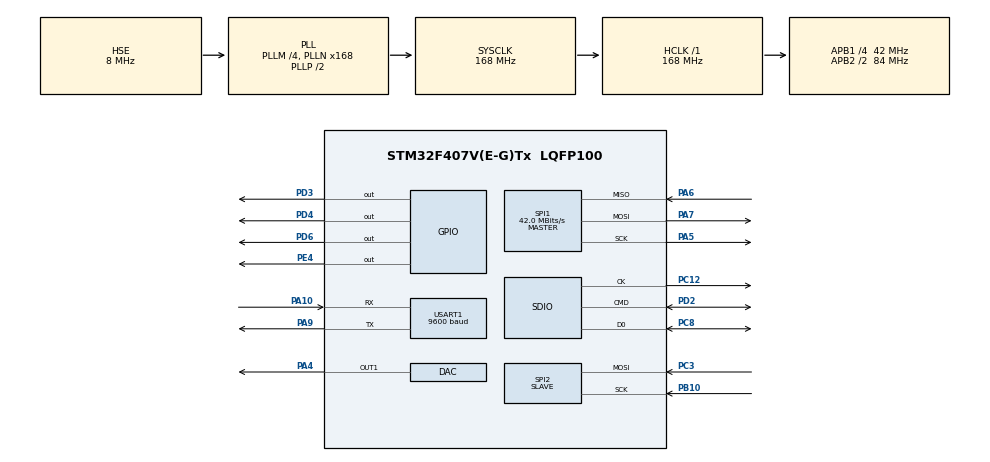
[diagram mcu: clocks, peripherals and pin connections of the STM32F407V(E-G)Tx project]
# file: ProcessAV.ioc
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DAC.DAC_Trigger=DAC_TRIGGER_T2_TRGO
Dma.DAC1.2.Direction=DMA_MEMORY_TO_PERIPH
Dma.DAC1.2.FIFOMode=DMA_FIFOMODE_DISABLE
Dma.DAC1.2.Instance=DMA1_Stream5
Dma.DAC1.2.MemDataAlignment=DMA_MDATAALIGN_WORD
Dma.DAC1.2.MemInc=DMA_MINC_ENABLE
Dma.DAC1.2.Mode=DMA_CIRCULAR
Dma.DAC1.2.PeriphDataAlignment=DMA_PDATAALIGN_WORD
Dma.DAC1.2.PeriphInc=DMA_PINC_DISABLE
Dma.DAC1.2.Priority=DMA_PRIORITY_MEDIUM
Dma.Request0=SPI1_TX
Dma.Request1=SPI1_RX
Dma.Request2=DAC1
Dma.SPI1_RX.1.Direction=DMA_PERIPH_TO_MEMORY
Dma.SPI1_RX.1.FIFOMode=DMA_FIFOMODE_DISABLE
Dma.SPI1_RX.1.Instance=DMA2_Stream0
Dma.SPI1_RX.1.MemDataAlignment=DMA_MDATAALIGN_BYTE
Dma.SPI1_RX.1.MemInc=DMA_MINC_ENABLE
Dma.SPI1_RX.1.Mode=DMA_NORMAL
Dma.SPI1_RX.1.PeriphDataAlignment=DMA_PDATAALIGN_BYTE
Dma.SPI1_RX.1.PeriphInc=DMA_PINC_DISABLE
Dma.SPI1_RX.1.Priority=DMA_PRIORITY_LOW
Dma.SPI1_TX.0.Direction=DMA_MEMORY_TO_PERIPH
Dma.SPI1_TX.0.FIFOMode=DMA_FIFOMODE_DISABLE
Dma.SPI1_TX.0.Instance=DMA2_Stream3
Dma.SPI1_TX.0.MemDataAlignment=DMA_MDATAALIGN_BYTE
Dma.SPI1_TX.0.MemInc=DMA_MINC_ENABLE
Dma.SPI1_TX.0.Mode=DMA_NORMAL
Dma.SPI1_TX.0.PeriphDataAlignment=DMA_PDATAALIGN_BYTE
Dma.SPI1_TX.0.PeriphInc=DMA_PINC_DISABLE
Dma.SPI1_TX.0.Priority=DMA_PRIORITY_LOW
FATFS._MAX_SS=512
Mcu.Family=STM32F4
Mcu.Name=STM32F407V(E-G)Tx
Mcu.Package=LQFP100
NVIC.DMA1_Stream5_IRQn=true\:0\:0\:false\:false\:true\:false\:true\:true
NVIC.DMA2_Stream0_IRQn=true\:0\:0\:false\:false\:true\:false\:true\:true
NVIC.DMA2_Stream3_IRQn=true\:0\:0\:false\:false\:true\:false\:true\:true
NVIC.PriorityGroup=NVIC_PRIORITYGROUP_4
NVIC.SPI2_IRQn=true\:0\:0\:false\:false\:true\:true\:true\:true
NVIC.TIM4_IRQn=true\:0\:0\:false\:false\:true\:true\:true\:true
NVIC.USART1_IRQn=true\:0\:0\:false\:false\:true\:true\:true\:true
PA10.Mode=Asynchronous
PA10.Signal=USART1_RX
PA13.Mode=Serial_Wire
PA13.Signal=SYS_JTMS-SWDIO
PA14.Mode=Serial_Wire
PA14.Signal=SYS_JTCK-SWCLK
PA4.Signal=COMP_DAC1_group
PA5.Mode=Full_Duplex_Master
PA5.Signal=SPI1_SCK
PA6.Mode=Full_Duplex_Master
PA6.Signal=SPI1_MISO
PA7.Mode=Full_Duplex_Master
PA7.Signal=SPI1_MOSI
PA9.Mode=Asynchronous
PA9.Signal=USART1_TX
PB10.Mode=RX_Only_Simplex_Unidirect_Slave
PB10.Signal=SPI2_SCK
PC12.Mode=SD_1_bit
PC12.Signal=SDIO_CK
PC3.Mode=RX_Only_Simplex_Unidirect_Slave
PC3.Signal=SPI2_MOSI
PC8.GPIO_PuPd=GPIO_PULLUP
PC8.Mode=SD_1_bit
PC8.Signal=SDIO_D0
PD2.GPIO_PuPd=GPIO_PULLUP
PD2.Mode=SD_1_bit
PD2.Signal=SDIO_CMD
PD3.Signal=GPIO_Output
PD4.Signal=GPIO_Output
PD6.Signal=GPIO_Output
PE4.Signal=GPIO_Output
PH0-OSC_IN.Mode=HSE-External-Oscillator
PH0-OSC_IN.Signal=RCC_OSC_IN
PH1-OSC_OUT.Mode=HSE-External-Oscillator
PH1-OSC_OUT.Signal=RCC_OSC_OUT
ProjectManager.HeapSize=0x200
ProjectManager.StackSize=0x400
ProjectManager.TargetToolchain=STM32CubeIDE
RCC.48MHZClocksFreq_Value=48000000
RCC.AHBFreq_Value=168000000
RCC.APB1CLKDivider=RCC_HCLK_DIV4
RCC.APB1Freq_Value=42000000
RCC.APB1TimFreq_Value=84000000
RCC.APB2CLKDivider=RCC_HCLK_DIV2
RCC.APB2Freq_Value=84000000
RCC.APB2TimFreq_Value=168000000
RCC.CortexFreq_Value=168000000
RCC.HCLKFreq_Value=168000000
RCC.HSE_VALUE=8000000
RCC.HSI_VALUE=16000000
RCC.LSE_VALUE=32768
RCC.PLLM=4
RCC.PLLN=168
RCC.PLLQ=7
RCC.PLLSourceVirtual=RCC_PLLSOURCE_HSE
RCC.SYSCLKFreq_VALUE=168000000
RCC.SYSCLKSource=RCC_SYSCLKSOURCE_PLLCLK
RCC.VCOOutputFreq_Value=336000000
SDIO.ClockDiv=8
SH.COMP_DAC1_group.0=DAC_OUT1,DAC_OUT1
SPI1.BaudRatePrescaler=SPI_BAUDRATEPRESCALER_2
SPI1.CalculateBaudRate=42.0 MBits/s
SPI1.DataSize=SPI_DATASIZE_8BIT
SPI1.Direction=SPI_DIRECTION_2LINES
SPI1.Mode=SPI_MODE_MASTER
SPI1.VirtualType=VM_MASTER
SPI2.CRCCalculation=SPI_CRCCALCULATION_DISABLE
SPI2.Direction=SPI_DIRECTION_2LINES_RXONLY
SPI2.Mode=SPI_MODE_SLAVE
SPI2.VirtualType=VM_SLAVE
TIM2.Period=27
TIM2.Prescaler=41
TIM2.TIM_MasterOutputTrigger=TIM_TRGO_UPDATE
TIM4.Period=1000
TIM4.Prescaler=84
USART1.BaudRate=9600
USART1.Parity=PARITY_NONE
USART1.VirtualMode=VM_ASYNC
VP_FATFS_VS_SDIO.Mode=SDIO
VP_TIM2_VS_ClockSourceINT.Mode=Internal
VP_TIM4_VS_ClockSourceINT.Mode=Internal
board=custom

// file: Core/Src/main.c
/* USER CODE BEGIN Header */
/**
  ******************************************************************************
  * @file           : main.c
  * @brief          : Main program body
  ******************************************************************************
  * @attention
  *
  * Copyright (c) 2024 STMicroelectronics.
  * All rights reserved.
  *
  * This software is licensed under terms that can be found in the LICENSE file
  * in the root directory of this software component.
  * If no LICENSE file comes with this software, it is provided AS-IS.
  *
  ******************************************************************************
  */
/* USER CODE END Header */
#include "main.h"
#include "fatfs.h"

/* USER CODE BEGIN Includes */

#include "graphics.h"
#include "lcd.h"
#include "sdsys.h"
#include "audio.h"
#include "kernel.h"
#include "controller.h"
#include "app.h"
#include <stdbool.h>

/* USER CODE END Includes */

DAC_HandleTypeDef hdac;
DMA_HandleTypeDef hdma_dac1;

SD_HandleTypeDef hsd;

SPI_HandleTypeDef hspi1;
SPI_HandleTypeDef hspi2;
DMA_HandleTypeDef hdma_spi1_tx;
DMA_HandleTypeDef hdma_spi1_rx;

TIM_HandleTypeDef htim2;
TIM_HandleTypeDef htim4;

UART_HandleTypeDef huart1;

/* USER CODE BEGIN PV */

volatile uint8_t flagDmaSpiTx = 0; /*flaguri pentru transfer DMA prin SPI*/
volatile uint8_t flagDmaSpiRx = 0;

volatile uint8_t flagDmaSDIORx = 0; /*flag pentru transfer DMA SDIO*/

volatile bool flagDmaDAC = 0;      /*Flag pentru DMA pe DAC si bufferele aferente*/

/* USER CODE END PV */

void SystemClock_Config(void);
static void MX_GPIO_Init(void);
static void MX_DMA_Init(void);
static void MX_SPI1_Init(void);
static void MX_USART1_UART_Init(void);
static void MX_DAC_Init(void);
static void MX_TIM2_Init(void);
static void MX_SDIO_SD_Init(void);
static void MX_SPI2_Init(void);
static void MX_TIM4_Init(void);

/* USER CODE BEGIN 0 */

void HAL_SPI_TxCpltCallback(SPI_HandleTypeDef *hspi)
{
	/*
	 * Functie de CallBack pentru terminarea transferului SPI
	 * folosind DMA. Odata terminat transferul SPI prin DMA,
	 * aceasta functia de CallBack se va apela, setandu-ne un flag
	 * pentru a indica starea acestui transfer de date.
	 */

	if(hspi->Instance == SPI1)
	{
		flagDmaSpiTx = 1;
	}

}

void HAL_SPI_RxCpltCallback(SPI_HandleTypeDef *hspi)
{

	/*
	 * Functie de CallBack pentru terminarea receptiei datelor
	 * prin SPI folosind DMA (analog cu functia HAL_SPI_TxCpltCallback)
	 */

	if(hspi->Instance == SPI1)
	{
		/*
		 * SPI1 folosit pentru LCD
		 */

		flagDmaSpiRx = 1;

	}

	if(hspi->Instance == SPI2)
	{
		/*
		 * Receptionare comenzi controller
		 */

		switch(dataController)
		{
		  	case DxRight:
		  	  currentDx = DxRight;
		  	  break;
		  	case DxLeft:
		  	  currentDx = DxLeft;
		  	  break;
		  	case DxUp:
		  	  currentDx = DxUp;
		  	  break;
		  	case DxDown:
		  	  currentDx = DxDown;
		  	  break;
		  	case DxStart:
		  	  currentDx = DxStart;
		  	  break;
		  	case DxSelect:
		  	  currentDx = DxSelect;
		  	  break;
		  	default:
		  	  currentDx = 0x00;
		  	  break;
		}

		/*Reinitializare intrerupere rcpt SPI2 intr Controller*/

		HAL_SPI_Receive_IT(&hspi2, &dataController, sizeof(dataController));

	}

}

void HAL_DAC_ConvHalfCpltCallbackCh1(DAC_HandleTypeDef *hdac)
{
    /*
     * Functie de CallBack pentru finalizare 1/2 din transfer DMA pe DAC
     */

	flagDmaDAC = 1;

}

void controller_test()
{
	ENTITY entity;
	entity.x0 = 0;
	entity.y0 = 300;
	entity.x1 = 64;
	entity.y1 = 64;
	entity.id = 0x80;
	entity.ST.color = 0xF100;

	draw_entity(&entity);

	while(1)
	{

		switch(currentDx)
		{
			case DxRight:
				translation_entity(&entity, entity.x0+32, entity.y0, 1);
				currentDx = 0;
				break;
			case DxLeft:
				translation_entity(&entity, entity.x0-32, entity.y0, 1);
				currentDx = 0;
				break;
			case DxUp:
				translation_entity(&entity, entity.x0, entity.y0-32, 1);
				currentDx = 0;
				break;
			case DxDown:
				translation_entity(&entity, entity.x0, entity.y0+32, 1);
				currentDx = 0;
				break;
			default:
				currentDx = 0;
				break;
		}

		kernel_delay(50);

	}

}

void Task0()
{

	ENTITY entity;
	entity.x0 = 0;
	entity.y0 = 0;
	entity.x1 = 64;
	entity.y1 = 64;
	entity.id = 0x80;
	entity.ST.color = 0xF100;

    while(1)
    {
        //HAL_GPIO_TogglePin(GPIOE, GPIO_PIN_4);
        //mutex = 1;
        //HAL_GPIO_WritePin(GPIOE, GPIO_PIN_4, GPIO_PIN_SET);
        //HAL_GPIO_WritePin(GPIOE, GPIO_PIN_4, GPIO_PIN_RESET);
        translation_test(&entity, 1, 0);
    	//mutex = 0;
    }
}

void Task1()
{

    while(1)
    {
    	play_audio_file("Audio/acoustic.txt");
    	kernel_delay(20);
    }
}

/*

volatile void Task1()
{
	ENTITY entity;
	entity.x0 = 0;
	entity.y0 = 0;
	entity.x1 = 64;
	entity.y1 = 64;
	entity.id = 0x80;
	entity.ST.color = 0xF100;

    while(1)
    {

    	//HAL_GPIO_TogglePin(GPIOE, GPIO_PIN_4);
    	//flagg = 1;
    	//mutex = 1;
        HAL_GPIO_WritePin(GPIOE, GPIO_PIN_4, GPIO_PIN_RESET);
        translation_entity(&entity, entity.x0+1, entity.y0, 1);
    	//mutex = 0;
    	HAL_Delay(40);
    }
}
*/

void Task2()
{
	ENTITY entity;
	entity.x0 = 0;
	entity.y0 = 300;
	entity.x1 = 64;
	entity.y1 = 64;
	entity.id = 0x80;
	entity.ST.color = 0xF100;

    while(1)
    {

    	//HAL_GPIO_TogglePin(GPIOE, GPIO_PIN_4);
    	//flagg = 1;
    	//mutex = 1;
        //HAL_GPIO_WritePin(GPIOE, GPIO_PIN_4, GPIO_PIN_SET);
        translation_test(&entity, 1, 0);
        //translation_entity(&entity, entity.x0+1, entity.y0, 1);
    	//mutex = 0;

    }
}

void Task3()
{
	while(1)
	{
		controller_test();
	}
}

void Task4()
{
	while(1)
	{
		HAL_GPIO_TogglePin(GPIOE, GPIO_PIN_4);
		kernel_delay(2000);
	}
}

void Task5()
{
	while(1)
	{
		HAL_GPIO_TogglePin(GPIOE, GPIO_PIN_4);
		kernel_delay(2000);
	}
}

void demo_os_1()
{
	  BackGroundColor = 0xFFFF;
	  fill_screen2(0xFFFF);
	  print_string(128, 128, "os demo",0xF100, BackGroundColor);

	  kernel_add_process(Task0);
	  kernel_add_process(Task1);
	  //kernel_add_process(Task2);
	  //kernel_add_process(Task3);
	  //kernel_add_process(Task4);
	  //kernel_add_process(Task5);
	  kernel_start();

	  while(1)
	  {

	  }
}

/* USER CODE END 0 */

int main(void)
{

  /* MCU Configuration--------------------------------------------------------*/

  /* Reset of all peripherals, Initializes the Flash interface and the Systick. */
  HAL_Init();

  /* USER CODE BEGIN Init */
  HAL_NVIC_SetPriority(PendSV_IRQn, 15, 0);
  HAL_NVIC_SetPriority(TIM4_IRQn, 14, 0);
  /* USER CODE END Init */

  /* Configure the system clock */
  SystemClock_Config();

  /* Initialize all configured peripherals */
  MX_GPIO_Init();
  MX_DMA_Init();
  MX_SPI1_Init();
  MX_USART1_UART_Init();
  MX_DAC_Init();
  MX_TIM2_Init();
  MX_SDIO_SD_Init();
  MX_FATFS_Init();
  MX_SPI2_Init();
  MX_TIM4_Init();
  /* USER CODE BEGIN 2 */

  init_cardSD();  /*Initializare sistem de fisiere card SD*/
  ILI9488_driver_init();  /*Initializare driver ecran LCD*/
  HAL_TIM_Base_Start(&htim2); /*Initializare timer2 pentru trigger DMA pe DAC*/
  HAL_TIM_Base_Start_IT(&htim4);
  HAL_SPI_Receive_IT(&hspi2, &dataController, sizeof(dataController)); /*Initializare SPI2 intr Controller*/

  main_app(); /*FSM principal al sistemului*/

  fill_screen1(0xFFFF);
  //play_audio_file("Audio/acoustic.txt");
  //controller_test();
  //demo_os_1();

  /*Test pentru tastatura*/

  //fill_screen1(0x0000);

  //HAL_Delay(1000);
  //play_audio_file("Audio/acoustic.txt");
  //HAL_Delay(1000);
  //play_audio_file_reverb("Audio/acoustic.txt");
  //HAL_Delay(1000);
  //play_audio_file_vibrato("Audio/acoustic.txt");
  //HAL_Delay(1000);
  //play_audio_file_echo("Audio/acoustic.txt", 22, 0.99);
  //HAL_Delay(1000);
  //play_audio_file_echo("Audio/acoustic.txt", 22, 0);
  //HAL_Delay(1000);
  //play_audio_file("Audio/king.txt"); //doremi mine songita song22 king acoustic bambina

  //fill_screen1(0xF100);
  //HAL_Delay(1000);
  //fill_screen2(0xF00F);
  //HAL_Delay(1000);
  fill_screen2(0xFFFF);
  //HAL_Delay(1000);

  unsigned int startTick = 0;
  unsigned int endTick = 0;
  unsigned int getTime = 0;

  ENTITY entity;
  init_entity_sd(&entity);

  /*Test SCALARE*/

  fill_screen2(0xFFFF);

  BackGroundColor = 0xFFFF;

  entity.x0 = 100;
  entity.y0 = 100;
  entity.id = 0;
  assign_file_path_entity(&entity, "graphic/multi2.bin");
  draw_entity(&entity);
  HAL_Delay(1000);
  scaling_entity(&entity, 38);
  erase_entity(entity);
  draw_entity(&entity);
  HAL_Delay(1000);

  //--------------------------------------------

  HAL_Delay(1000);
  fill_screen2(0xFFFF);
  rotate_entity(&entity, 90);
  HAL_Delay(5000);
  rotate_entity(&entity, 180);
  HAL_Delay(5000);
  rotate_entity(&entity, 270);
  HAL_Delay(5000);

  //---------------------------------------------

  HAL_Delay(1000);

  //fill_screen2(0xFFFF);
  draw_rectangle(entity.x0, entity.y0, entity.x1, entity.y1, BackGroundColor);
  draw_entity(&entity);
  HAL_Delay(1000);
  //fill_screen2(0xFFFF);
  scaling_entity(&entity, 0.5);
  HAL_Delay(1000);
  draw_rectangle(entity.x0, entity.y0, entity.x1, entity.y1, BackGroundColor);
  draw_entity(&entity);
  HAL_Delay(1000);

  fill_screen2(0xFFFF);
  entity.x0 = 0;
  entity.y0 = 0;
  assign_file_path_entity(&entity, "graphic/img9.bin");
  draw_entity(&entity);
  HAL_Delay(1000);
  fill_screen2(0xFFFF);
  scaling_entity(&entity, 0.5);
  draw_entity(&entity);
  HAL_Delay(1000);
  scaling_entity(&entity, 2);
  draw_entity(&entity);
  HAL_Delay(1000);
  //Test read from LCD

  //draw_pixel(0,0,0x001F);
  //draw_pixel(1,0,0xF800);
  //draw_pixel(0,1,0x001F);
  //draw_pixel(1,1,0xFF00);

  //uint8_t *dataRec1;
  //dataRec1 = malloc(sizeof(char)*20);
  //read_pixel_frame(0,0,2,2,dataRec1);

  //free(dataRec1);

  //Test image print from SD card
  ENTITY ent;
  ent.x0 = 0;
  ent.y0 = 0;
  ent.id = 0x00;
  init_entity_sd(&ent);
  assign_file_path_entity(&ent, "graphic/img5.bin");
  draw_entity(&ent);
  HAL_Delay(2000);
  assign_file_path_entity(&ent, "graphic/img6.bin");
  draw_entity(&ent);
  HAL_Delay(2000);
  assign_file_path_entity(&ent, "graphic/img8.bin");
  draw_entity(&ent);
  HAL_Delay(2000);
  assign_file_path_entity(&ent, "graphic/img9.bin");
  draw_entity(&ent);
  HAL_Delay(2000);
  startTick = HAL_GetTick();
  assign_file_path_entity(&ent, "graphic/img92.bin");
  draw_entity(&ent);
  endTick = HAL_GetTick();
  getTime = endTick - startTick;

  fill_screen2(0x0000);
  assign_file_path_entity(&ent, "graphic/pixel1.bin");
  draw_entity(&ent);
  HAL_Delay(3000);
  //draw_entity(&ent, "graphic/img51.txt");
  //HAL_Delay(2000);
  //draw_entity(&ent, "graphic/img6.txt");
  //HAL_Delay(2000);
  //draw_entity(&ent, "graphic/img8.txt");
  //HAL_Delay(2000);
  //draw_entity(&ent, "graphic/img4.txt");
  //HAL_Delay(1000);

  //read_image_file("graphic/img4.txt", &ent);
  //set_adress_window(ent.x0, ent.y0, ent.x1+ent.x0-1, ent.y1+ent.y0-1, 'w');
  //LCD_send_data_multi(ent.data,sizeof(char)*(ent.x1*ent.y1)*3);

  //HAL_Delay(4000);

  //free(ent.data);

  //Test translation

  //ENTITY entity;

  free_entity_sd(&entity);

  entity.x0 = 0;
  entity.y0 = 0;
  entity.x1 = 64;
  entity.y1 = 64;
  entity.id = 0x80;
  entity.ST.color = 0xF100;

  //draw_entity(&entity,NULL);

  translation_test(&entity, 1, 0);

  HAL_Delay(500);
  translation_entity(&entity, entity.x0+100, entity.y0+100, 0);//, 0xF100);
  HAL_Delay(2000);
  translation_entity(&entity, entity.x0+32, entity.y0+32, 0);//, 0xF100);
  HAL_Delay(500);
  translation_entity(&entity, entity.x0+12, entity.y0+32, 0);//, 0xF100);
  HAL_Delay(500);
  translation_entity(&entity, entity.x0+12, entity.y0, 0);//, 0xF100);
  HAL_Delay(500);

  //Test_SD_Card();

  //play_audio_file("audio/mine.txt"); //doremi mine songita song22

  fill_screen2(0xF100);

  //startTick = HAL_GetTick();
  //read_audio_file("audio/random.txt", sampleData);
  //endTick = HAL_GetTick();
  //getTime = endTick - startTick;

  HAL_Delay(100);

  for(uint8_t i=0;i<100;i++)
  {
	  for(uint8_t j=0; j<100;j++)
	  {

		  if(i==j)
		  {
			  draw_pixel(i,j,0xF100);
			  continue;
		  }

		  if((i == 80 && j==20) || (i == 80 && j==19) || (i == 81 && j==20) || (i == 81 && j==19))
		  {
			  draw_pixel(i,j,0x001F);
			  continue;
		  }

		  draw_pixel(i,j,0xFFFF);

	  }
  }

  //HAL_Delay(1);

  /*

  fill_screen(0x001F);

  HAL_Delay(1000);

  fill_screen(0xF100);

  HAL_Delay(1000);

  fill_screen1(0xFFFF);

  print_character(50, 50, 'a', 0x1F00, 0xFFFF);

  HAL_Delay(5000);

  fill_screen1(0x001F);

  HAL_Delay(1000);

  fill_screen2(0xFFFF);

  HAL_Delay(250);

  fill_screen2(0xF100);

  LCD_send_command(ILI9488_DISPON);

  */

  fill_screen2(0xF100);
  HAL_Delay(1000);
  fill_screen2(0xF150);
  HAL_Delay(1000);
  fill_screen2(0xF111);
  HAL_Delay(1000);
  fill_screen2(0xF10F);
  HAL_Delay(1000);
  fill_screen2(0xFFFF);
  HAL_Delay(1000);
  fill_screen2(0xFFFF);

  print_string(36, 200, "Licenta 2025", 0x1F00, 0x001F);

  uint8_t dataToSend[] = {0x01, 0x02, 0x03, 0x04};
  HAL_SPI_Transmit_DMA(&hspi1, dataToSend, sizeof(dataToSend));

  draw_horizontal_line(20, 20, 80, 0xF100);
  draw_vertical_line(20, 20, 80, 0xF100);

  flagDmaSpiTx = 0;

  draw_pixel(0,0,0x001F);
  draw_pixel(1,0,0xF800);
  draw_pixel(0,1,0x001F);
  draw_pixel(1,1,0xF800);

  HAL_Delay(50);

  uint8_t *dataRec;
  dataRec = malloc(sizeof(uint8_t));
  //dataRec = LCD_read_data(2,2,0,0);
  //free(dataRec);
  read_pixel_frame(0,0,2,2,dataRec);
  //read_pixel_format();
  //HAL_UART_Transmit(&huart1, (uint8_t*)"Pixel Data: ",12,HAL_MAX_DELAY);
  free(dataRec);

  HAL_Delay(3000);

  /* USER CODE END 2 */

  /* Infinite loop */
  while (1)
  {

  }
}

void SystemClock_Config(void)
{
  RCC_OscInitTypeDef RCC_OscInitStruct = {0};
  RCC_ClkInitTypeDef RCC_ClkInitStruct = {0};

  /** Configure the main internal regulator output voltage
  */
  __HAL_RCC_PWR_CLK_ENABLE();
  __HAL_PWR_VOLTAGESCALING_CONFIG(PWR_REGULATOR_VOLTAGE_SCALE1);

  /** Initializes the RCC Oscillators according to the specified parameters
  * in the RCC_OscInitTypeDef structure.
  */
  RCC_OscInitStruct.OscillatorType = RCC_OSCILLATORTYPE_HSE;
  RCC_OscInitStruct.HSEState = RCC_HSE_ON;
  RCC_OscInitStruct.PLL.PLLState = RCC_PLL_ON;
  RCC_OscInitStruct.PLL.PLLSource = RCC_PLLSOURCE_HSE;
  RCC_OscInitStruct.PLL.PLLM = 4;
  RCC_OscInitStruct.PLL.PLLN = 168;
  RCC_OscInitStruct.PLL.PLLP = RCC_PLLP_DIV2;
  RCC_OscInitStruct.PLL.PLLQ = 7;
  if (HAL_RCC_OscConfig(&RCC_OscInitStruct) != HAL_OK)
  {
    Error_Handler();
  }

  /** Initializes the CPU, AHB and APB buses clocks
  */
  RCC_ClkInitStruct.ClockType = RCC_CLOCKTYPE_HCLK|RCC_CLOCKTYPE_SYSCLK
                              |RCC_CLOCKTYPE_PCLK1|RCC_CLOCKTYPE_PCLK2;
  RCC_ClkInitStruct.SYSCLKSource = RCC_SYSCLKSOURCE_PLLCLK;
  RCC_ClkInitStruct.AHBCLKDivider = RCC_SYSCLK_DIV1;
  RCC_ClkInitStruct.APB1CLKDivider = RCC_HCLK_DIV4;
  RCC_ClkInitStruct.APB2CLKDivider = RCC_HCLK_DIV2;

  if (HAL_RCC_ClockConfig(&RCC_ClkInitStruct, FLASH_LATENCY_5) != HAL_OK)
  {
    Error_Handler();
  }
}

static void MX_DAC_Init(void)
{

  DAC_ChannelConfTypeDef sConfig = {0};

  /** DAC Initialization
  */
  hdac.Instance = DAC;
  if (HAL_DAC_Init(&hdac) != HAL_OK)
  {
    Error_Handler();
  }

  /** DAC channel OUT1 config
  */
  sConfig.DAC_Trigger = DAC_TRIGGER_T2_TRGO;
  sConfig.DAC_OutputBuffer = DAC_OUTPUTBUFFER_ENABLE;
  if (HAL_DAC_ConfigChannel(&hdac, &sConfig, DAC_CHANNEL_1) != HAL_OK)
  {
    Error_Handler();
  }

}

static void MX_SDIO_SD_Init(void)
{

  hsd.Instance = SDIO;
  hsd.Init.ClockEdge = SDIO_CLOCK_EDGE_RISING;
  hsd.Init.ClockBypass = SDIO_CLOCK_BYPASS_DISABLE;
  hsd.Init.ClockPowerSave = SDIO_CLOCK_POWER_SAVE_DISABLE;
  hsd.Init.BusWide = SDIO_BUS_WIDE_1B;
  hsd.Init.HardwareFlowControl = SDIO_HARDWARE_FLOW_CONTROL_DISABLE;
  hsd.Init.ClockDiv = 8;

}

static void MX_SPI1_Init(void)
{

  /* SPI1 parameter configuration*/
  hspi1.Instance = SPI1;
  hspi1.Init.Mode = SPI_MODE_MASTER;
  hspi1.Init.Direction = SPI_DIRECTION_2LINES;
  hspi1.Init.DataSize = SPI_DATASIZE_8BIT;
  hspi1.Init.CLKPolarity = SPI_POLARITY_LOW;
  hspi1.Init.CLKPhase = SPI_PHASE_1EDGE;
  hspi1.Init.NSS = SPI_NSS_SOFT;
  hspi1.Init.BaudRatePrescaler = SPI_BAUDRATEPRESCALER_2;
  hspi1.Init.FirstBit = SPI_FIRSTBIT_MSB;
  hspi1.Init.TIMode = SPI_TIMODE_DISABLE;
  hspi1.Init.CRCCalculation = SPI_CRCCALCULATION_DISABLE;
  hspi1.Init.CRCPolynomial = 10;
  if (HAL_SPI_Init(&hspi1) != HAL_OK)
  {
    Error_Handler();
  }

}

static void MX_SPI2_Init(void)
{

  /* SPI2 parameter configuration*/
  hspi2.Instance = SPI2;
  hspi2.Init.Mode = SPI_MODE_SLAVE;
  hspi2.Init.Direction = SPI_DIRECTION_2LINES_RXONLY;
  hspi2.Init.DataSize = SPI_DATASIZE_8BIT;
  hspi2.Init.CLKPolarity = SPI_POLARITY_LOW;
  hspi2.Init.CLKPhase = SPI_PHASE_1EDGE;
  hspi2.Init.NSS = SPI_NSS_SOFT;
  hspi2.Init.FirstBit = SPI_FIRSTBIT_MSB;
  hspi2.Init.TIMode = SPI_TIMODE_DISABLE;
  hspi2.Init.CRCCalculation = SPI_CRCCALCULATION_DISABLE;
  hspi2.Init.CRCPolynomial = 10;
  if (HAL_SPI_Init(&hspi2) != HAL_OK)
  {
    Error_Handler();
  }

}

static void MX_TIM2_Init(void)
{

  TIM_ClockConfigTypeDef sClockSourceConfig = {0};
  TIM_MasterConfigTypeDef sMasterConfig = {0};

  htim2.Instance = TIM2;
  htim2.Init.Prescaler = 41;
  htim2.Init.CounterMode = TIM_COUNTERMODE_UP;
  htim2.Init.Period = 27;
  htim2.Init.ClockDivision = TIM_CLOCKDIVISION_DIV1;
  htim2.Init.AutoReloadPreload = TIM_AUTORELOAD_PRELOAD_DISABLE;
  if (HAL_TIM_Base_Init(&htim2) != HAL_OK)
  {
    Error_Handler();
  }
  sClockSourceConfig.ClockSource = TIM_CLOCKSOURCE_INTERNAL;
  if (HAL_TIM_ConfigClockSource(&htim2, &sClockSourceConfig) != HAL_OK)
  {
    Error_Handler();
  }
  sMasterConfig.MasterOutputTrigger = TIM_TRGO_UPDATE;
  sMasterConfig.MasterSlaveMode = TIM_MASTERSLAVEMODE_DISABLE;
  if (HAL_TIMEx_MasterConfigSynchronization(&htim2, &sMasterConfig) != HAL_OK)
  {
    Error_Handler();
  }

}

static void MX_TIM4_Init(void)
{

  TIM_ClockConfigTypeDef sClockSourceConfig = {0};
  TIM_MasterConfigTypeDef sMasterConfig = {0};

  htim4.Instance = TIM4;
  htim4.Init.Prescaler = 84;
  htim4.Init.CounterMode = TIM_COUNTERMODE_UP;
  htim4.Init.Period = 1000;
  htim4.Init.ClockDivision = TIM_CLOCKDIVISION_DIV1;
  htim4.Init.AutoReloadPreload = TIM_AUTORELOAD_PRELOAD_DISABLE;
  if (HAL_TIM_Base_Init(&htim4) != HAL_OK)
  {
    Error_Handler();
  }
  sClockSourceConfig.ClockSource = TIM_CLOCKSOURCE_INTERNAL;
  if (HAL_TIM_ConfigClockSource(&htim4, &sClockSourceConfig) != HAL_OK)
  {
    Error_Handler();
  }
  sMasterConfig.MasterOutputTrigger = TIM_TRGO_RESET;
  sMasterConfig.MasterSlaveMode = TIM_MASTERSLAVEMODE_DISABLE;
  if (HAL_TIMEx_MasterConfigSynchronization(&htim4, &sMasterConfig) != HAL_OK)
  {
    Error_Handler();
  }

}

static void MX_USART1_UART_Init(void)
{

  huart1.Instance = USART1;
  huart1.Init.BaudRate = 9600;
  huart1.Init.WordLength = UART_WORDLENGTH_8B;
  huart1.Init.StopBits = UART_STOPBITS_1;
  huart1.Init.Parity = UART_PARITY_NONE;
  huart1.Init.Mode = UART_MODE_TX_RX;
  huart1.Init.HwFlowCtl = UART_HWCONTROL_NONE;
  huart1.Init.OverSampling = UART_OVERSAMPLING_16;
  if (HAL_UART_Init(&huart1) != HAL_OK)
  {
    Error_Handler();
  }

}

static void MX_DMA_Init(void)
{

  /* DMA controller clock enable */
  __HAL_RCC_DMA2_CLK_ENABLE();
  __HAL_RCC_DMA1_CLK_ENABLE();

  /* DMA interrupt init */
  /* DMA1_Stream5_IRQn interrupt configuration */
  HAL_NVIC_SetPriority(DMA1_Stream5_IRQn, 0, 0);
  HAL_NVIC_EnableIRQ(DMA1_Stream5_IRQn);
  /* DMA2_Stream0_IRQn interrupt configuration */
  HAL_NVIC_SetPriority(DMA2_Stream0_IRQn, 0, 0);
  HAL_NVIC_EnableIRQ(DMA2_Stream0_IRQn);
  /* DMA2_Stream3_IRQn interrupt configuration */
  HAL_NVIC_SetPriority(DMA2_Stream3_IRQn, 0, 0);
  HAL_NVIC_EnableIRQ(DMA2_Stream3_IRQn);

}

static void MX_GPIO_Init(void)
{
  GPIO_InitTypeDef GPIO_InitStruct = {0};

  /* GPIO Ports Clock Enable */
  __HAL_RCC_GPIOE_CLK_ENABLE();
  __HAL_RCC_GPIOH_CLK_ENABLE();
  __HAL_RCC_GPIOC_CLK_ENABLE();
  __HAL_RCC_GPIOA_CLK_ENABLE();
  __HAL_RCC_GPIOB_CLK_ENABLE();
  __HAL_RCC_GPIOD_CLK_ENABLE();

  /*Configure GPIO pin Output Level */
  HAL_GPIO_WritePin(GPIOE, GPIO_PIN_4, GPIO_PIN_RESET);

  /*Configure GPIO pin Output Level */
  HAL_GPIO_WritePin(GPIOD, GPIO_PIN_3|GPIO_PIN_4|GPIO_PIN_6, GPIO_PIN_RESET);

  /*Configure GPIO pin : PE4 */
  GPIO_InitStruct.Pin = GPIO_PIN_4;
  GPIO_InitStruct.Mode = GPIO_MODE_OUTPUT_PP;
  GPIO_InitStruct.Pull = GPIO_NOPULL;
  GPIO_InitStruct.Speed = GPIO_SPEED_FREQ_LOW;
  HAL_GPIO_Init(GPIOE, &GPIO_InitStruct);

  /*Configure GPIO pins : PD3 PD4 PD6 */
  GPIO_InitStruct.Pin = GPIO_PIN_3|GPIO_PIN_4|GPIO_PIN_6;
  GPIO_InitStruct.Mode = GPIO_MODE_OUTPUT_PP;
  GPIO_InitStruct.Pull = GPIO_NOPULL;
  GPIO_InitStruct.Speed = GPIO_SPEED_FREQ_LOW;
  HAL_GPIO_Init(GPIOD, &GPIO_InitStruct);

}

void Error_Handler(void)
{
  __disable_irq();
  while (1)
  {
  }
}
